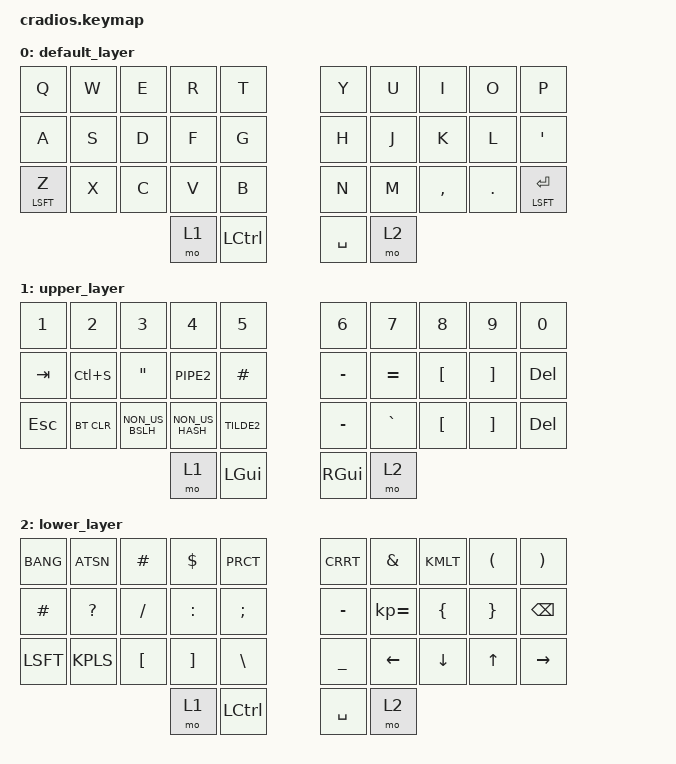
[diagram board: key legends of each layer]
/*
 * Cradios Keymap - CUSTOM (Not using generic system)
 * 
 * This is a basic hardcoded layout.
 * To use the generic 3x5 layout instead, see: config/a_dux.keymap
 */

#include <behaviors.dtsi>
#include <dt-bindings/zmk/keys.h>
#include <dt-bindings/zmk/bt.h>


/ {
        keymap {
                compatible = "zmk,keymap";
                
       default_layer {
		bindings = <
	&kp Q &kp W &kp E &kp R &kp T 							&kp Y &kp U  &kp I    &kp O   &kp P 
		&kp A &kp S &kp D &kp F &kp G 						&kp H &kp J  &kp K    &kp L   &kp QUOT
		&mt LSFT Z &kp X &kp C &kp V &kp B				        &kp N &kp M  &kp CMMA &kp DOT &mt LSFT RET
          					&mo 1 &kp LCTL  						&kp SPC &mo 2 
		>;
		};
       upper_layer {
		bindings = <
		&kp NUM_1  &kp NUM_2    &kp NUM_3    &kp NUM_4    &kp NUM_5		&kp NUM_6 &kp NUM_7 &kp NUM_8 &kp NUM_9 &kp NUM_0 
		&kp TAB    &kp LC(S)    &kp DQT      &kp PIPE2     &kp HASH 		&kp MINUS &kp EQL  &kp LBKT &kp RBKT  &kp DEL 
		&kp ESC    &bt BT_CLR &kp NON_US_BSLH &kp NON_US_HASH  &kp TILDE2 	&kp MINUS &kp GRAVE &kp LBKT &kp RBKT  &kp DEL 
					    &mo 1  &kp LGUI  					&kp RGUI &mo 2 
		>;
		};
		
	lower_layer {
		bindings = <
		&kp BANG  &kp ATSN &kp HASH  &kp DLLR  &kp PRCT    			&kp CRRT  &kp AMPS &kp KMLT &kp LPRN &kp RPRN 
		&kp HASH  &kp QMARK  &kp FSLH  &kp COLN  &kp SCLN 			&kp MINUS &kp KP_EQUAL  &kp LBRC  &kp RBRC   &kp BKSP
		&kp LSFT    &kp KPLS &kp LBKT &kp RBKT   &kp BSLH    				&kp UNDER &kp LEFT &kp DOWN &kp UP  &kp RIGHT
					  &mo 1 &kp LCTL  				&kp SPC  &mo 2 
		>;
		};	
        
	};
};
